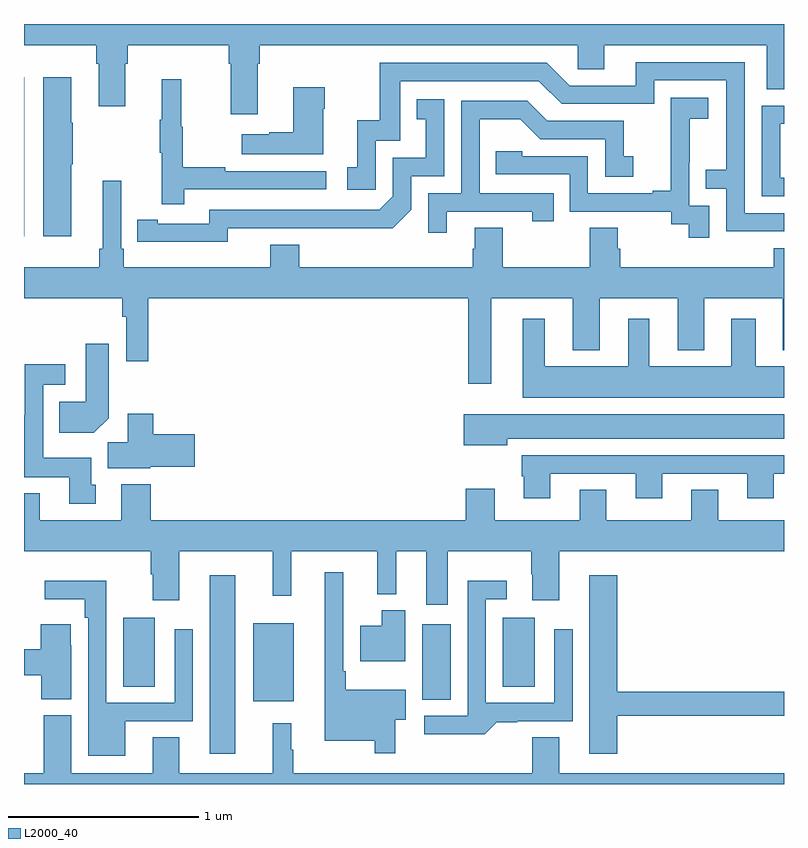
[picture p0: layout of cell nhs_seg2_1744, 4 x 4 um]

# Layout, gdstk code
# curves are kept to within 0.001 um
import gdstk
lib = gdstk.Library(unit=1e-6, precision=1e-09)
def R(c, l, rs):  # rectangles x0, y0, x1, y1
    for r in rs: c.add(gdstk.rectangle(r[:2], r[2:], *l))
def P(c, l, *ps):  # polygons
    for p in ps: c.add(gdstk.Polygon(p, *l))
L2000_40 = (2000, 40)

nhs_seg2_1744 = lib.new_cell('nhs_seg2_1744')
R(nhs_seg2_1744, L2000_40, [(203.978,591.96,204.112,592.9), (204.206,592.235,204.421,592.645), (205.097,592.243,205.246,592.642), (203.522,592.312,203.689,592.675), (205.52,592.312,205.687,592.675), (203,594.684,203.002,595.519)])
P(nhs_seg2_1744, L2000_40, [(204.229,595.592),(204.242,595.592),(204.242,595.688),(205.914,595.688),(205.914,595.561),(206.053,595.561),(206.053,595.688),(206.909,595.688),(206.909,595.456),(207,595.456),(207,595.8),(203,595.8),(203,595.688),(203.381,595.688),(203.381,595.592),(203.393,595.592),(203.393,595.368),(203.533,595.368),(203.533,595.592),(203.546,595.592),(203.546,595.688),(204.077,595.688),(204.077,595.592),(204.089,595.592),(204.089,595.326),(204.229,595.326)],
  [(207,594.804),(206.793,594.804),(206.793,595.599),(206.219,595.599),(206.219,595.476),(205.872,595.476),(205.752,595.596),(204.873,595.596),(204.873,595.294),(204.755,595.294),(204.755,595.047),(204.702,595.047),(204.702,594.927),(204.852,594.927),(204.852,595.185),(204.981,595.185),(204.981,595.5),(205.71,595.5),(205.83,595.38),(206.316,595.38),(206.316,595.503),(206.697,595.503),(206.697,595.034),(206.587,595.034),(206.587,594.933),(206.697,594.933),(206.697,594.708),(207,594.708)],
  [(203.248,595.063),(203.256,595.063),(203.256,595.28),(203.248,595.28),(203.248,595.519),(203.102,595.519),(203.102,594.684),(203.248,594.684)],
  [(203.843,594.93),(204.592,594.93),(204.592,595.026),(204.059,595.026),(204.059,595.046),(203.836,595.046),(203.836,595.26),(203.828,595.26),(203.828,595.51),(203.726,595.51),(203.726,595.297),(203.715,595.297),(203.715,595.123),(203.726,595.123),(203.726,594.852),(203.843,594.852)],
  [(204.574,595.355),(204.582,595.355),(204.582,595.468),(204.416,595.468),(204.416,595.229),(204.29,595.229),(204.29,595.219),(204.147,595.219),(204.147,595.115),(204.574,595.115)],
  [(206.607,594.843),(206.502,594.843),(206.502,595.073),(206.504,595.073),(206.504,595.301),(206.602,595.301),(206.602,595.411),(206.404,595.411),(206.404,595.205),(206.405,595.205),(206.405,594.922),(206.309,594.922),(206.309,594.909),(205.968,594.909),(205.968,595.104),(205.623,595.104),(205.623,595.131),(205.483,595.131),(205.483,595.008),(205.872,595.008),(205.872,594.813),(206.406,594.813),(206.406,594.745),(206.499,594.745),(206.499,594.675),(206.607,594.675)],
  [(204.072,594.726),(204.94,594.725),(205.038,594.822),(205.038,594.999),(205.212,594.999),(205.212,595.405),(205.066,595.405),(205.066,595.299),(205.115,595.299),(205.115,595.095),(204.942,595.095),(204.942,594.894),(204.87,594.822),(203.976,594.822),(203.976,594.75),(203.704,594.75),(203.704,594.77),(203.596,594.77),(203.596,594.654),(204.072,594.653)],
  [(205.225,594.813),(205.676,594.813),(205.676,594.762),(205.787,594.762),(205.787,594.909),(205.398,594.909),(205.398,595.298),(205.612,595.298),(205.716,595.194),(206.058,595.194),(206.058,594.996),(206.206,594.996),(206.206,595.105),(206.157,595.105),(206.157,595.29),(205.753,595.29),(205.648,595.395),(205.302,595.395),(205.302,594.909),(205.128,594.909),(205.128,594.702),(205.225,594.702)],
  [(207,594.99),(206.979,594.99),(206.979,595.275),(207,595.275),(207,595.371),(206.883,595.371),(206.883,594.894),(207,594.894)],
  [(205.459,594.356),(205.889,594.356),(205.889,594.083),(206.029,594.083),(206.029,594.356),(206.441,594.356),(206.441,594.083),(206.581,594.083),(206.581,594.356),(206.993,594.356),(206.993,594.083),(207,594.083),(207,594.619),(206.945,594.619),(206.945,594.52),(206.138,594.52),(206.138,594.618),(206.125,594.618),(206.125,594.728),(205.978,594.728),(205.978,594.52),(205.521,594.52),(205.521,594.728),(205.373,594.728),(205.373,594.618),(205.361,594.618),(205.361,594.52),(204.449,594.52),(204.449,594.637),(204.296,594.637),(204.296,594.52),(203.525,594.52),(203.525,594.616),(203.511,594.616),(203.511,594.976),(203.414,594.976),(203.414,594.616),(203.395,594.616),(203.395,594.52),(203,594.52),(203,594.356),(203.518,594.356),(203.518,594.26),(203.538,594.26),(203.538,594.024),(203.654,594.024),(203.654,594.356),(205.338,594.356),(205.338,593.907),(205.459,593.907)],
  [(207,593.998),(206.851,593.998),(206.851,594.25),(206.723,594.25),(206.723,593.998),(206.29,593.998),(206.29,594.25),(206.18,594.25),(206.18,593.998),(205.741,593.998),(205.741,594.25),(205.625,594.25),(205.625,593.834),(207,593.834)],
  [(203.446,593.726),(203.446,594.118),(203.324,594.118),(203.324,593.812),(203.185,593.812),(203.185,593.648),(203.368,593.648)],
  [(203.377,593.376),(203.353,593.376),(203.353,593.518),(203.1,593.518),(203.1,593.901),(203.218,593.901),(203.218,594.01),(203.004,594.01),(203.004,593.74),(203,593.74),(203,593.6),(203.002,593.6),(203.002,593.414),(203.237,593.414),(203.237,593.274),(203.377,593.274)],
  [(203.664,593.471),(203.899,593.471),(203.899,593.642),(203.681,593.642),(203.681,593.749),(203.546,593.749),(203.546,593.6),(203.441,593.6),(203.441,593.462),(203.664,593.462)],
  [(205.543,593.618),(207,593.618),(207,593.746),(205.314,593.746),(205.314,593.582),(205.543,593.582)],
  [(205.771,593.433),(206.219,593.433),(206.219,593.304),(206.359,593.304),(206.359,593.433),(206.807,593.433),(206.807,593.304),(206.947,593.304),(206.947,593.433),(207,593.433),(207,593.529),(205.619,593.529),(205.619,593.421),(205.631,593.421),(205.631,593.304),(205.771,593.304)],
  [(205.231,593.024),(205.669,593.024),(205.669,592.904),(205.676,592.904),(205.676,592.767),(205.816,592.767),(205.816,593.024),(207,593.024),(207,593.188),(206.653,593.188),(206.653,593.348),(206.513,593.348),(206.513,593.188),(206.065,593.188),(206.065,593.348),(205.925,593.348),(205.925,593.188),(205.477,593.188),(205.477,593.353),(205.325,593.353),(205.325,593.188),(203.666,593.188),(203.666,593.377),(203.513,593.377),(203.513,593.188),(203.083,593.188),(203.083,593.329),(203,593.329),(203,593.024),(203.666,593.024),(203.666,592.904),(203.678,592.904),(203.678,592.767),(203.818,592.767),(203.818,593.024),(204.308,593.024),(204.308,592.791),(204.407,592.791),(204.407,593.024),(204.86,593.024),(204.86,592.799),(204.958,592.799),(204.958,593.024),(205.118,593.024),(205.118,592.743),(205.231,592.743)],
  [(204.955,592.139),(205.009,592.139),(205.009,592.297),(204.694,592.297),(204.694,592.393),(204.681,592.393),(204.681,592.915),(204.584,592.915),(204.584,592.028),(204.846,592.028),(204.846,591.963),(204.955,591.963)],
  [(206.123,592.158),(207,592.158),(207,592.286),(206.123,592.286),(206.123,592.9),(205.976,592.9),(205.976,591.96),(206.123,591.96)],
  [(205.489,592.126),(205.597,592.126),(205.597,592.131),(205.887,592.131),(205.887,592.615),(205.791,592.615),(205.791,592.227),(205.431,592.227),(205.431,592.773),(205.54,592.773),(205.54,592.87),(205.335,592.87),(205.335,592.158),(205.107,592.158),(205.107,592.061),(205.424,592.061)],
  [(203.533,592.131),(203.889,592.131),(203.889,592.615),(203.793,592.615),(203.793,592.227),(203.433,592.227),(203.433,592.87),(203.109,592.87),(203.109,592.772),(203.321,592.772),(203.321,592.676),(203.337,592.676),(203.337,591.95),(203.533,591.95)],
  [(205.006,592.714),(204.884,592.714),(204.884,592.633),(204.77,592.633),(204.77,592.445),(205.006,592.445)],
  [(203.248,592.529),(203.247,592.529),(203.247,592.642),(203.087,592.642),(203.087,592.508),(203,592.508),(203,592.372),(203.092,592.372),(203.092,592.246),(203.248,592.246)],
  [(207,591.856),(205.816,591.856),(205.816,592.046),(205.676,592.046),(205.676,591.856),(204.418,591.856),(204.418,591.98),(204.406,591.98),(204.406,592.12),(204.308,592.12),(204.308,591.856),(203.818,591.856),(203.818,592.046),(203.678,592.046),(203.678,591.856),(203.248,591.856),(203.248,592.161),(203.105,592.161),(203.105,591.856),(203,591.856),(203,591.8),(207,591.8)])

lib.write_gds('nhs_seg2_1744.gds')
